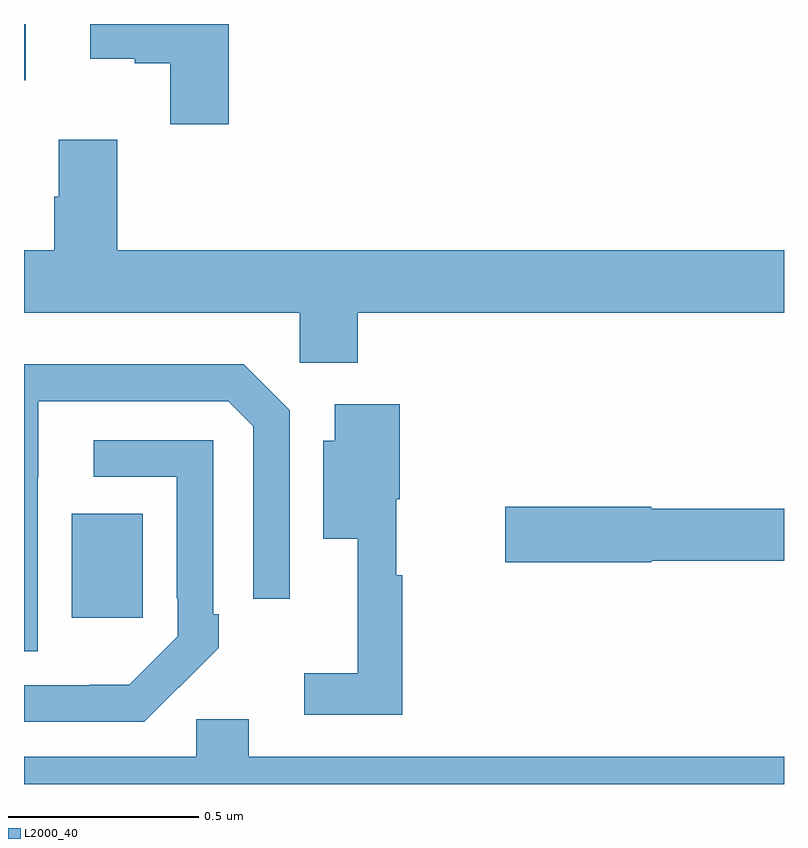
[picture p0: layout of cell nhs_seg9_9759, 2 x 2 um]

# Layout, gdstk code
import gdstk
lib = gdstk.Library(unit=1e-6, precision=1e-09)
def R(c, l, rs):  # rectangles x0, y0, x1, y1
    for r in rs: c.add(gdstk.rectangle(r[:2], r[2:], *l))
def P(c, l, *ps):  # polygons
    for p in ps: c.add(gdstk.Polygon(p, *l))
L2000_40 = (2000, 40)

nhs_seg9_9759 = lib.new_cell('nhs_seg9_9759')
R(nhs_seg9_9759, L2000_40, [(234.125,1208.937,234.313,1209.211), (234,1210.352,234.004,1210.5)])
P(nhs_seg9_9759, L2000_40, [(234.539,1210.5),(234.174,1210.5),(234.174,1210.409),(234.291,1210.409),(234.291,1210.397),(234.385,1210.397),(234.385,1210.236),(234.539,1210.236)],
  [(234.245,1210.195),(234.092,1210.195),(234.092,1210.046),(234.08,1210.046),(234.08,1209.904),(234,1209.904),(234,1209.74),(234.726,1209.74),(234.726,1209.609),(234.878,1209.609),(234.878,1209.74),(236,1209.74),(236,1209.904),(234.245,1209.904)],
  [(234.036,1209.307),(234.037,1209.307),(234.037,1209.507),(234.537,1209.507),(234.603,1209.441),(234.603,1208.988),(234.699,1208.988),(234.699,1209.483),(234.578,1209.604),(234,1209.604),(234,1208.85),(234.036,1208.85)],
  [(234.995,1209.05),(234.98,1209.05),(234.98,1209.25),(234.989,1209.25),(234.989,1209.499),(234.818,1209.499),(234.818,1209.403),(234.788,1209.403),(234.788,1209.146),(234.878,1209.146),(234.878,1208.791),(234.738,1208.791),(234.738,1208.682),(234.995,1208.682)],
  [(234.407,1208.755),(234.408,1208.754),(234.513,1208.859),(234.513,1208.947),(234.498,1208.947),(234.498,1209.405),(234.183,1209.405),(234.183,1209.309),(234.402,1209.309),(234.402,1208.989),(234.405,1208.989),(234.405,1208.889),(234.277,1208.761),(234.173,1208.761),(234.173,1208.76),(234,1208.76),(234,1208.664),(234.316,1208.664)],
  [(235.65,1209.088),(236,1209.088),(236,1209.224),(235.65,1209.224),(235.65,1209.23),(235.266,1209.23),(235.266,1209.083),(235.65,1209.083)],
  [(236,1208.572),(234.592,1208.572),(234.592,1208.67),(234.453,1208.67),(234.453,1208.572),(234,1208.572),(234,1208.5),(236,1208.5)])

lib.write_gds('nhs_seg9_9759.gds')
